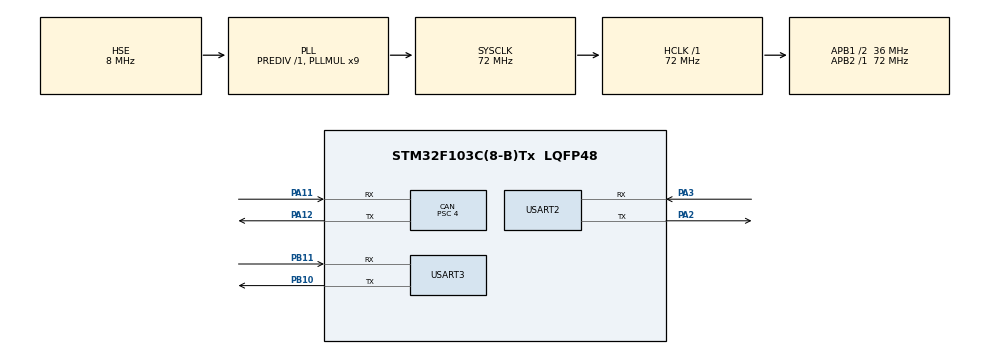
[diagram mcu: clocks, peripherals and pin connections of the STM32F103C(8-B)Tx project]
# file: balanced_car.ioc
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CAN.BS1=CAN_BS1_5TQ
CAN.BS2=CAN_BS2_3TQ
CAN.CalculateTimeBit=333
CAN.CalculateTimeQuantum=111.11111111111111
CAN.Mode=CAN_MODE_NORMAL
CAN.Prescaler=4
Mcu.Family=STM32F1
Mcu.Name=STM32F103C(8-B)Tx
Mcu.Package=LQFP48
NVIC.PriorityGroup=NVIC_PRIORITYGROUP_4
NVIC.TIM2_IRQn=true\:0\:0\:false\:false\:true\:true
NVIC.USART2_IRQn=true\:0\:0\:false\:false\:true\:true
NVIC.USART3_IRQn=true\:0\:0\:false\:false\:true\:true
NVIC.USB_HP_CAN1_TX_IRQn=true\:0\:0\:false\:false\:true\:true
NVIC.USB_LP_CAN1_RX0_IRQn=true\:0\:0\:false\:false\:true\:true
PA11.Mode=Master
PA11.Signal=CAN_RX
PA12.Mode=Master
PA12.Signal=CAN_TX
PA13.Mode=Serial_Wire
PA13.Signal=SYS_JTMS-SWDIO
PA14.Mode=Serial_Wire
PA14.Signal=SYS_JTCK-SWCLK
PA2.Mode=Asynchronous
PA2.Signal=USART2_TX
PA3.Mode=Asynchronous
PA3.Signal=USART2_RX
PB10.Mode=Asynchronous
PB10.Signal=USART3_TX
PB11.Mode=Asynchronous
PB11.Signal=USART3_RX
PD0-OSC_IN.Mode=HSE-External-Oscillator
PD0-OSC_IN.Signal=RCC_OSC_IN
PD1-OSC_OUT.Mode=HSE-External-Oscillator
PD1-OSC_OUT.Signal=RCC_OSC_OUT
ProjectManager.HeapSize=0x200
ProjectManager.StackSize=0x400
ProjectManager.TargetToolchain=MDK-ARM V5
RCC.AHBFreq_Value=72000000
RCC.APB1CLKDivider=RCC_HCLK_DIV2
RCC.APB1Freq_Value=36000000
RCC.APB1TimFreq_Value=72000000
RCC.APB2Freq_Value=72000000
RCC.APB2TimFreq_Value=72000000
RCC.HCLKFreq_Value=72000000
RCC.PLLMUL=RCC_PLL_MUL9
RCC.PLLSourceVirtual=RCC_PLLSOURCE_HSE
RCC.SYSCLKFreq_VALUE=72000000
RCC.SYSCLKSource=RCC_SYSCLKSOURCE_PLLCLK
RCC.USBFreq_Value=72000000
TIM2.Period=10-1
TIM2.Prescaler=7200-1
USART2.VirtualMode=VM_ASYNC
USART3.VirtualMode=VM_ASYNC
VP_TIM2_VS_ClockSourceINT.Mode=Internal
board=custom

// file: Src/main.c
/**
  ******************************************************************************
  * @file           : main.c
  * @brief          : Main program body
  ******************************************************************************
  ** This notice applies to any and all portions of this file
  * that are not between comment pairs USER CODE BEGIN and
  * USER CODE END. Other portions of this file, whether
  * inserted by the user or by software development tools
  * are owned by their respective copyright owners.
  *
  * COPYRIGHT(c) 2019 STMicroelectronics
  *
  * Redistribution and use in source and binary forms, with or without modification,
  * are permitted provided that the following conditions are met:
  *   1. Redistributions of source code must retain the above copyright notice,
  *      this list of conditions and the following disclaimer.
  *   2. Redistributions in binary form must reproduce the above copyright notice,
  *      this list of conditions and the following disclaimer in the documentation
  *      and/or other materials provided with the distribution.
  *   3. Neither the name of STMicroelectronics nor the names of its contributors
  *      may be used to endorse or promote products derived from this software
  *      without specific prior written permission.
  *
  * THIS SOFTWARE IS PROVIDED BY THE COPYRIGHT HOLDERS AND CONTRIBUTORS "AS IS"
  * AND ANY EXPRESS OR IMPLIED WARRANTIES, INCLUDING, BUT NOT LIMITED TO, THE
  * IMPLIED WARRANTIES OF MERCHANTABILITY AND FITNESS FOR A PARTICULAR PURPOSE ARE
  * DISCLAIMED. IN NO EVENT SHALL THE COPYRIGHT HOLDER OR CONTRIBUTORS BE LIABLE
  * FOR ANY DIRECT, INDIRECT, INCIDENTAL, SPECIAL, EXEMPLARY, OR CONSEQUENTIAL
  * DAMAGES (INCLUDING, BUT NOT LIMITED TO, PROCUREMENT OF SUBSTITUTE GOODS OR
  * SERVICES; LOSS OF USE, DATA, OR PROFITS; OR BUSINESS INTERRUPTION) HOWEVER
  * CAUSED AND ON ANY THEORY OF LIABILITY, WHETHER IN CONTRACT, STRICT LIABILITY,
  * OR TORT (INCLUDING NEGLIGENCE OR OTHERWISE) ARISING IN ANY WAY OUT OF THE USE
  * OF THIS SOFTWARE, EVEN IF ADVISED OF THE POSSIBILITY OF SUCH DAMAGE.
  *
  ******************************************************************************
  */
#include "main.h"
#include "stm32f1xx_hal.h"
#include "can.h"
#include "tim.h"
#include "usart.h"
#include "gpio.h"

/* USER CODE BEGIN PV */
/* Private variables ---------------------------------------------------------*/

#define ABSOLUTE(x) ((x)>0? (x):(-(x)))
#define PI                   (3.14159265f)
uint8_t RxBuffer_uart3[1];

/* USER CODE END PV */

void SystemClock_Config(void);

/* USER CODE BEGIN PFP */
/* Private function prototypes -----------------------------------------------*/
int16_t iq1;
int16_t iq2;
int16_t iq3;
int16_t iq4;
uint32_t Timer2_Count = 0;
uint8_t Count_1ms,Count_2ms,Count_4ms,Count_5ms,Count_10ms,Count_20ms,Count_50ms,Count_200ms,Count_100ms;
int Count_1000ms;
uint8_t Bsp_Int_Ok = 0;
/* USER CODE END PFP */

/* USER CODE BEGIN 0 */
int16_t left_motor_current,right_motor_current;
extern struct SAngle 	stcAngle;
extern struct SGyro 	stcGyro;
extern struct SAcc 		stcAcc;
float accx,accy,accz;
float pitch, roll, yaw, last_pitch;
float pitch_vel, roll_vel, yaw_vel;
float cal_angle;
float offsect_angle=0.0;

float x_dot,theta_dot,x,theta;
float Radius = 0.095/2;

int last_pos;

extern Motor motor[4];

uint32_t cnt_1s=0;

void Task_1000HZ(void)
{
	static uint8_t a=1;

	pitch = (float)stcAngle.Angle[0]/32768*180 - offsect_angle;
	pitch_vel = (float)stcGyro.w[0]/32768*2000;
	int delta_theta;
	delta_theta = motor[0].angle - last_pos;

	if(ABSOLUTE(delta_theta)>4095)
	{
		if(delta_theta>0)	delta_theta -= 8191;
		else delta_theta += 8191;
	}

	last_pos = motor[0].angle;

	if(a==1) {delta_theta=0;a=0;}

	x_dot =- delta_theta/8191.0*360.0/180.0*PI*Radius/0.001; //与规定方向相反
	theta_dot = pitch_vel/180.0f*PI;
	x += x_dot*0.001f;
	theta = pitch/180.0f*PI;

}

float step = 0.03f/20.0f*16384.0f;

float gg1[1501];
float gg2[1501];
int gg_count;
int p_flag=1;
void Task_500HZ(void)
{

//	accx = (float)stcAcc.a[0]/32768*16;
//	accy = (float)stcAcc.a[1]/32768*16;
//	accz = (float)stcAcc.a[2]/32768*16;
//
//	cal_angle=atan2(accy,accz)*180/PI;

/*
	//identify wheel's moment of inertia
	//delta_theta 8191:360°  left_motor_current:  current(A)/20.0f*16384.0f;
	if(Timer2_Count<=5002)
	{
		int delta_theta;
		Set_Motor_Speed(CAN1, left_motor_current , 0, 0, 0);
		delta_theta = MOTOR[0].angle - last_pos;
		if((MOTOR[0].angle - last_pos)<0)
		delta_theta += 8191;

		last_pos = MOTOR[0].angle;

		gg1[gg_count] = delta_theta;
		gg2[gg_count] = left_motor_current;
		gg_count++;

	}
	else
	{
		if(p_flag)
		{
			p_flag=0;
			gg_count=1;
			while(gg_count<2501)
			{
				printf("%d\t%d\r\n",gg1[gg_count],gg2[gg_count]);
				gg_count++;
			}
		}

	}
	//identify wheel's moment of inertia
	//void Task_10HZ(void)
	//{
	//	if(Timer2_Count<=3000) left_motor_current += 0.0018;
	//	else left_motor_current = 0;
	//}
	//	)
*/

}

void Task_250HZ(void)
{

}

//esc max current: 20A/2 16384/2=8192

//角速度 +-2000°/s,角度 +-180°
int16_t command;
float CURRENT;

float Kd[4]={-2.358748 , -8.102613 , -6.608290 , -1.296257 };//good parameter for angle -1.911442 , -6.852738 , -5.402396 , -1.063010

float CURRENT_LIMIT = 10.0F;
void Task_200HZ(void)
{
/*
	//identify first rod's moment of inertia
	//角速度 +-2000°/s,角度 +-180°
	if(Timer2_Count<=5005)
	{
		gg1[gg_count] = pitch_vel;
		gg2[gg_count] = pitch;
		gg_count++;
	}
	else
	{
		if(p_flag)
		{
			p_flag=0;
			gg_count=1;
			while(gg_count<1001)
			{
				printf("%f\t%f\r\n",gg1[gg_count],gg2[gg_count]);
				gg_count++;
			}
		}

	}
	//identify first rod's moment of inertia

*/

	CURRENT = -(Kd[0]*x + Kd[1]*theta + Kd[2]*x_dot + Kd[3]*theta_dot);

	if(CURRENT>CURRENT_LIMIT) CURRENT=CURRENT_LIMIT;
	if(CURRENT<-CURRENT_LIMIT) CURRENT=-CURRENT_LIMIT;
	command = CURRENT/20.0f*16384.0f;

	if(ABSOLUTE(theta)>70.0f/180.0f*PI || ABSOLUTE(motor[0].inner_rpm)>2500 || ABSOLUTE(motor[1].inner_rpm)>2500)
	{
		printf("stop\r\n");
		while(1)
		{
			set_moto_current( 0,  0,  0,  0);
		}

	}
	else
		set_moto_current(-command , command, 0, 0);

	printf("theta：%f\t theta_det:%f\t%f\r\n",theta,theta_dot,CURRENT);

}

void Task_100HZ(void)
{
//////	send_state_variable(x,theta,x_dot,theta_dot);
}

void Task_50HZ(void)
{

}

void Task_20HZ(void)
{

}

void Task_10HZ(void)
{
	/*
	//identify wheel's moment of inertia
	if(Timer2_Count<3002) left_motor_current += step;
	else left_motor_current = 0;
	*/
}

void Task_5HZ(void)
{

}

void Task_1HZ(void)
{

}

/* USER CODE END 0 */

int main(void)
{

  /* MCU Configuration----------------------------------------------------------*/

  /* Reset of all peripherals, Initializes the Flash interface and the Systick. */
  HAL_Init();

  /* Configure the system clock */
  SystemClock_Config();

  /* Initialize all configured peripherals */
  MX_GPIO_Init();
  MX_USART2_UART_Init();
  MX_CAN_Init();
  MX_TIM2_Init();
  MX_USART3_UART_Init();
  /* USER CODE BEGIN 2 */
	HAL_TIM_Base_Start_IT(&htim2);
	can_filter_init();
	HAL_UART_Receive_IT(&huart3,RxBuffer_uart3,1);// Enable the USART3 Interrupt
	Bsp_Int_Ok = 1;
  /* USER CODE END 2 */

  /* Infinite loop */
  while (1)
  {

  /* USER CODE BEGIN 3 */
		if(Count_1ms>=1)
		{
			Count_1ms = 0;
			Task_1000HZ();
		}
		if(Count_2ms>=2)
		{
			Count_2ms = 0;
			Task_500HZ();
		}
		if(Count_4ms>=4)
		{
			Count_4ms = 0;
			Task_250HZ();
		}
		if(Count_5ms>=5)
		{
			Count_5ms = 0;
			Task_200HZ();
		}
		if(Count_10ms>=10)
		{
			Count_10ms = 0;
			Task_100HZ();
		}
		if(Count_20ms>=20)
		{
			Count_20ms = 0;
			Task_50HZ();
		}
		if(Count_50ms>=50)
		{
			Count_50ms = 0;
			Task_20HZ();
		}
		if(Count_100ms>=100)
		{
			Count_100ms = 0;
			Task_10HZ();
		}
		if(Count_200ms>=200)
		{
			Count_200ms = 0;
			Task_5HZ();
		}
		if(Count_1000ms>=1000)
		{
			Count_1000ms = 0;
			Task_1HZ();
			cnt_1s++;
		}

//		set_moto_current( iq1,  iq2,  iq3,  iq4);
//		HAL_Delay(1000);

  }
  /* USER CODE END 3 */

}

void SystemClock_Config(void)
{

  RCC_OscInitTypeDef RCC_OscInitStruct;
  RCC_ClkInitTypeDef RCC_ClkInitStruct;

    /**Initializes the CPU, AHB and APB busses clocks
    */
  RCC_OscInitStruct.OscillatorType = RCC_OSCILLATORTYPE_HSE;
  RCC_OscInitStruct.HSEState = RCC_HSE_ON;
  RCC_OscInitStruct.HSEPredivValue = RCC_HSE_PREDIV_DIV1;
  RCC_OscInitStruct.HSIState = RCC_HSI_ON;
  RCC_OscInitStruct.PLL.PLLState = RCC_PLL_ON;
  RCC_OscInitStruct.PLL.PLLSource = RCC_PLLSOURCE_HSE;
  RCC_OscInitStruct.PLL.PLLMUL = RCC_PLL_MUL9;
  if (HAL_RCC_OscConfig(&RCC_OscInitStruct) != HAL_OK)
  {
    _Error_Handler(__FILE__, __LINE__);
  }

    /**Initializes the CPU, AHB and APB busses clocks
    */
  RCC_ClkInitStruct.ClockType = RCC_CLOCKTYPE_HCLK|RCC_CLOCKTYPE_SYSCLK
                              |RCC_CLOCKTYPE_PCLK1|RCC_CLOCKTYPE_PCLK2;
  RCC_ClkInitStruct.SYSCLKSource = RCC_SYSCLKSOURCE_PLLCLK;
  RCC_ClkInitStruct.AHBCLKDivider = RCC_SYSCLK_DIV1;
  RCC_ClkInitStruct.APB1CLKDivider = RCC_HCLK_DIV2;
  RCC_ClkInitStruct.APB2CLKDivider = RCC_HCLK_DIV1;

  if (HAL_RCC_ClockConfig(&RCC_ClkInitStruct, FLASH_LATENCY_2) != HAL_OK)
  {
    _Error_Handler(__FILE__, __LINE__);
  }

    /**Configure the Systick interrupt time
    */
  HAL_SYSTICK_Config(HAL_RCC_GetHCLKFreq()/1000);

    /**Configure the Systick
    */
  HAL_SYSTICK_CLKSourceConfig(SYSTICK_CLKSOURCE_HCLK);

  /* SysTick_IRQn interrupt configuration */
  HAL_NVIC_SetPriority(SysTick_IRQn, 0, 0);
}

/* USER CODE BEGIN 4 */

struct STime		stcTime;
struct SAcc 		stcAcc;
struct SGyro 		stcGyro;
struct SAngle 	stcAngle;
struct SMag 		stcMag;
struct SDStatus stcDStatus;
struct SPress 	stcPress;
struct SLonLat 	stcLonLat;
struct SGPSV 		stcGPSV;
struct SQ       stcQ;
//CopeSerialData为串口2中断调用函数，串口每收到一个数据，调用一次这个函数。
void CopeSerial2Data(unsigned char ucData)
{
	static unsigned char ucRxBuffer[250];
	static unsigned char ucRxCnt = 0;
	ucRxBuffer[ucRxCnt++]=ucData;	//将收到的数据存入缓冲区中
	if (ucRxBuffer[0]!=0x55) //数据头不对，则重新开始寻找0x55数据头
	{
		ucRxCnt=0;
		return;
	}
	if (ucRxCnt<11) {return;}//数据不满11个，则返回
	else
	{
		switch(ucRxBuffer[1])//判断数据是哪种数据，然后将其拷贝到对应的结构体中，有些数据包需要通过上位机打开对应的输出后，才能接收到这个数据包的数据
		{
			case 0x50:	memcpy(&stcTime,&ucRxBuffer[2],8);break;//memcpy为编译器自带的内存拷贝函数，需引用"string.h"，将接收缓冲区的字符拷贝到数据结构体里面，从而实现数据的解析。
			case 0x51:	memcpy(&stcAcc,&ucRxBuffer[2],8);break;
			case 0x52:	memcpy(&stcGyro,&ucRxBuffer[2],8);break;
			case 0x53:	memcpy(&stcAngle,&ucRxBuffer[2],8);break;
			case 0x54:	memcpy(&stcMag,&ucRxBuffer[2],8);break;
			case 0x55:	memcpy(&stcDStatus,&ucRxBuffer[2],8);break;
			case 0x56:	memcpy(&stcPress,&ucRxBuffer[2],8);break;
			case 0x57:	memcpy(&stcLonLat,&ucRxBuffer[2],8);break;
			case 0x58:	memcpy(&stcGPSV,&ucRxBuffer[2],8);break;
			case 0x59:	memcpy(&stcQ,&ucRxBuffer[2],8);break;
		}
		ucRxCnt=0;//清空缓存区
	}
}

void HAL_UART_RxCpltCallback(UART_HandleTypeDef *huart)
{

	if (huart->Instance == huart3.Instance)
	{
		CopeSerial2Data(RxBuffer_uart3[0]);//处理数据
	}
	HAL_UART_Receive_IT(&huart3,RxBuffer_uart3,1);// Enable the USART3 Interrupt again
}

void HAL_TIM_PeriodElapsedCallback(TIM_HandleTypeDef *htim)
{
    if (htim->Instance == htim2.Instance)
    {
			if( Bsp_Int_Ok == 0 )	return;//硬件未初始化完成，则返回
			Timer2_Count++;
			Count_1ms++;
			Count_2ms++;
			Count_4ms++;
			Count_5ms++;
			Count_10ms++;
			Count_20ms++;
			Count_50ms++;
			Count_100ms++;
			Count_200ms++;
			Count_1000ms++;
    }
}

/* USER CODE END 4 */

void _Error_Handler(char *file, int line)
{
  while(1)
  {
  }
}

/************************ (C) COPYRIGHT STMicroelectronics *****END OF FILE****/
